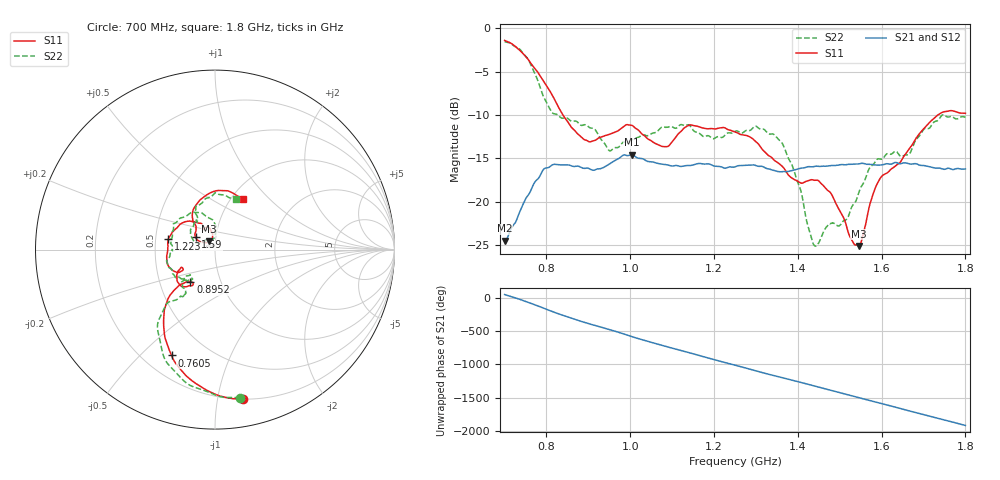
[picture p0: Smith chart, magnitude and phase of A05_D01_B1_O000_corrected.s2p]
! Created with skrf 1.9.0 (http://scikit-rf.org).
# Hz S RI R 50.0
!freq ReS11 ImS11 ReS21 ImS21 ReS12 ImS12 ReS22 ImS22
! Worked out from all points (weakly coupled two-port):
!   1601 points, 700 MHz to 1.8 GHz, reference 50 ohm
!   highest |S21| = -14.59 dB at 1.003 GHz (marker M1); lowest = -24.5 dB at 700.7 MHz (marker M2)
!   lowest |S11| = -25.1 dB at 1.545 GHz (marker M3), VSWR 1.12, Z = 46.7 + j4.24 ohm
!   |S11| at or under -10 dB: 839.2 MHz to 1.734 GHz (895.2 MHz wide, 69.6 % of centre)
!   |S22| runs from -25.1 to -1.5 dB; largest |S21 - S12| = 0.0038
!   S11 on the Smith chart (normalised r, x): 700 MHz: 0.20, -1.19; 760.5 MHz: 0.31, -0.62; 895.2 MHz: 0.72, -0.27; 1.223 GHz: 0.58, +0.07; 1.59 GHz: 0.80, +0.11; 1.8 GHz: 1.13, +0.71
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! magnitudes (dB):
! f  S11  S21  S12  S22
! 700 MHz  -1.4  -24.5  -24.3  -1.5
! 700.7 MHz  -1.4  -24.5  -24.2  -1.6
! 760.5 MHz  -3.9  -18.9  -18.8  -4.0
! 812.8 MHz  -7.6  -15.8  -15.8  -9.7
! 883.6 MHz  -12.6  -16.1  -16.0  -11.2
! 895.2 MHz  -12.9  -16.1  -16.2  -11.2
! 950.9 MHz  -12.2  -15.6  -15.6  -14.1
! 1.003 GHz  -11.2  -14.6  -14.7  -12.9
! 1.067 GHz  -13.4  -15.6  -15.5  -11.8
! 1.141 GHz  -11.2  -15.8  -15.8  -11.2
! 1.223 GHz  -11.5  -16.1  -16.1  -12.5
! 1.25 GHz  -12.0  -16.0  -15.9  -11.9
! 1.361 GHz  -15.9  -16.5  -16.6  -13.2
! 1.405 GHz  -17.8  -16.2  -16.2  -18.4
! 1.434 GHz  -17.5  -16.0  -16.0  -24.4
! 1.515 GHz  -22.7  -15.7  -15.7  -22.1
! 1.545 GHz  -25.1  -15.7  -15.6  -19.1
! 1.59 GHz  -17.8  -15.8  -15.8  -15.1
! 1.617 GHz  -16.5  -15.6  -15.6  -14.5
! 1.664 GHz  -14.0  -15.6  -15.6  -14.6
! 1.735 GHz  -10.0  -16.1  -16.2  -10.6
! 1.8 GHz  -9.8  -16.2  -16.2  -10.3
